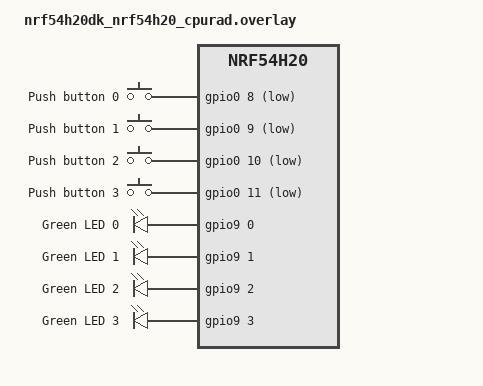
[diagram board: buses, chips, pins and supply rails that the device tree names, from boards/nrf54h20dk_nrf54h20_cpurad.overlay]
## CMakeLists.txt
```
#
# Copyright (c) 2018 Nordic Semiconductor
#
# SPDX-License-Identifier: LicenseRef-Nordic-5-Clause
#
cmake_minimum_required(VERSION 3.20.0)

find_package(Zephyr REQUIRED HINTS $ENV{ZEPHYR_BASE})
project(peripheral_uart_1)

# set(BOARD_FLASH_RUNNER jlink)

#set_property(GLOBAL PROPERTY BOARD_RUNNER_ARGS nrfjprog "--softreset")
# NORDIC SDK APP START
target_sources(app PRIVATE
  src/main.c
)

# NORDIC SDK APP END
```

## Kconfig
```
#
# Copyright (c) 2018 Nordic Semiconductor
#
# SPDX-License-Identifier: LicenseRef-Nordic-5-Clause
#

source "Kconfig.zephyr"

menu "Nordic UART BLE GATT service sample"

config BT_NUS_THREAD_STACK_SIZE
	int "Thread stack size"
	default 1024
	help
	  Stack size used in each of the two threads

config BT_NUS_UART_BUFFER_SIZE
	int "UART payload buffer element size"
	default 40
	help
	  Size of the payload buffer in each RX and TX FIFO element

config BT_NUS_SECURITY_ENABLED
	bool "Enable security"
	default y
	select BT_SMP
	help
	  "Enable BLE security for the UART service"

config BT_NUS_UART_RX_WAIT_TIME
	int "Timeout for UART RX complete event"
	default 50000
	help
	  Wait for RX complete event time in microseconds

config SETTINGS
	default y

config ZMS
	default y if !(SOC_FLASH_NRF_RRAM || SOC_FLASH_NRF_MRAM)

config NVS
	default y if !(SOC_FLASH_NRF_RRAM || SOC_FLASH_NRF_MRAM)

endmenu
```

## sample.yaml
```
sample:
  description: Bluetooth Low Energy UART service sample
  name: Bluetooth LE UART service
tests:
  sample.bluetooth.peripheral_uart:
    sysbuild: true
    build_only: true
    platform_allow: nrf52dk/nrf52832 nrf52833dk/nrf52833 nrf52840dk/nrf52840
      nrf5340dk/nrf5340/cpuapp nrf5340dk/nrf5340/cpuapp/ns thingy53/nrf5340/cpuapp
      thingy53/nrf5340/cpuapp/ns nrf21540dk/nrf52840 nrf54l15dk/nrf54l05/cpuapp
      nrf54l15dk/nrf54l10/cpuapp nrf54l15dk/nrf54l15/cpuapp
      nrf54h20dk/nrf54h20/cpuapp nrf54h20dk/nrf54h20/cpurad
    integration_platforms:
      - nrf52dk/nrf52832
      - nrf52833dk/nrf52833
      - nrf52840dk/nrf52840
      - nrf5340dk/nrf5340/cpuapp
      - nrf5340dk/nrf5340/cpuapp/ns
      - thingy53/nrf5340/cpuapp
      - thingy53/nrf5340/cpuapp/ns
      - nrf21540dk/nrf52840
      - nrf54l15dk/nrf54l05/cpuapp
      - nrf54l15dk/nrf54l10/cpuapp
      - nrf54l15dk/nrf54l15/cpuapp
      - nrf54h20dk/nrf54h20/cpuapp
      - nrf54h20dk/nrf54h20/cpurad
    tags: bluetooth ci_build sysbuild
  sample.bluetooth.peripheral_uart_cdc:
    sysbuild: true
    build_only: true
    extra_args: OVERLAY_CONFIG=prj_cdc.conf DTC_OVERLAY_FILE="usb.overlay"
    integration_platforms:
      - nrf52840dk/nrf52840
      - nrf52833dk/nrf52833
    platform_allow: nrf52840dk/nrf52840 nrf52833dk/nrf52833
    tags: bluetooth ci_build sysbuild
  sample.bluetooth.peripheral_uart_minimal:
    sysbuild: true
    build_only: true
    extra_args: FILE_SUFFIX=minimal
    integration_platforms:
      - nrf52dk/nrf52805
      - nrf52dk/nrf52810
      - nrf52840dk/nrf52811
      - nrf52833dk/nrf52820
    platform_allow: nrf52dk/nrf52805 nrf52dk/nrf52810 nrf52840dk/nrf52811 nrf52833dk/nrf52820
    tags: bluetooth ci_build sysbuild
  sample.bluetooth.peripheral_uart_ble_rpc:
    sysbuild: true
    build_only: true
    extra_args:
      - SNIPPET=nordic-bt-rpc
      - FILE_SUFFIX=bt_rpc
    integration_platforms:
      - nrf5340dk/nrf5340/cpuapp
      - nrf54h20dk/nrf54h20/cpuapp
    platform_allow: nrf5340dk/nrf5340/cpuapp nrf54h20dk/nrf54h20/cpuapp
    tags: bluetooth ci_build sysbuild
  sample.bluetooth.peripheral_uart.security_disabled:
    sysbuild: true
    build_only: true
    platform_allow: nrf52dk/nrf52832 nrf52833dk/nrf52833 nrf52840dk/nrf52840
      nrf5340dk/nrf5340/cpuapp nrf5340dk/nrf5340/cpuapp/ns thingy53/nrf5340/cpuapp
      thingy53/nrf5340/cpuapp/ns nrf21540dk/nrf52840
    integration_platforms:
      - nrf52840dk/nrf52840
    tags: bluetooth ci_build sysbuild
    extra_configs:
      - CONFIG_BT_NUS_SECURITY_ENABLED=n
```

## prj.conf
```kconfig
#
# Copyright (c) 2018 Nordic Semiconductor
#
# SPDX-License-Identifier: LicenseRef-Nordic-5-Clause
#

# Enable the UART driver
CONFIG_UART_ASYNC_API=y
CONFIG_NRFX_UARTE0=y
CONFIG_SERIAL=y

CONFIG_GPIO=y

# Make sure printk is printing to the UART console
CONFIG_CONSOLE=y
CONFIG_UART_CONSOLE=y

CONFIG_HEAP_MEM_POOL_SIZE=2048

CONFIG_BT=y
CONFIG_BT_PERIPHERAL=y
CONFIG_BT_DEVICE_NAME="EngineerRing BLE"
CONFIG_BT_MAX_CONN=1
CONFIG_BT_MAX_PAIRED=1

# Enable the NUS service
CONFIG_BT_NUS=y

# Enable bonding
CONFIG_BT_SETTINGS=y
CONFIG_FLASH=y
CONFIG_FLASH_PAGE_LAYOUT=y
CONFIG_FLASH_MAP=y

# Enable DK LED and Buttons library
CONFIG_DK_LIBRARY=y

# This example requires more stack
CONFIG_MAIN_STACK_SIZE=1152
CONFIG_SYSTEM_WORKQUEUE_STACK_SIZE=2048

# Config logger
CONFIG_LOG=y
CONFIG_USE_SEGGER_RTT=y
CONFIG_LOG_BACKEND_RTT=y
CONFIG_LOG_BACKEND_UART=n
CONFIG_LOG_PRINTK=n

CONFIG_ASSERT=y

CONFIG_SPI=y
   
# Use internal RC oscillator for LFCLK (if no 32.768 kHz crystal present)
CONFIG_CLOCK_CONTROL_NRF_K32SRC_RC=y
CONFIG_CLOCK_CONTROL_NRF_K32SRC_XTAL=n
CONFIG_CLOCK_CONTROL_NRF_K32SRC_SYNTH=n

CONFIG_CLOCK_CONTROL_NRF_K32SRC_500PPM=y
CONFIG_CLOCK_CONTROL_NRF_K32SRC_RC_CALIBRATION=y
```

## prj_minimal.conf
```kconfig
#
# Copyright (c) 2021 Nordic Semiconductor
#
# SPDX-License-Identifier: LicenseRef-Nordic-5-Clause
#

# Enable the UART driver
CONFIG_UART_ASYNC_API=y
CONFIG_NRFX_UARTE0=y
CONFIG_SERIAL=y

CONFIG_HEAP_MEM_POOL_SIZE=2048

CONFIG_BT=y
CONFIG_BT_PERIPHERAL=y
CONFIG_BT_DEVICE_NAME="Nordic_UART_Service"
CONFIG_BT_DEVICE_APPEARANCE=833
CONFIG_BT_MAX_CONN=1
CONFIG_BT_MAX_PAIRED=1

# Enable the NUS service
CONFIG_BT_NUS=y

# Enable bonding
CONFIG_BT_SETTINGS=y
CONFIG_FLASH=y
CONFIG_FLASH_PAGE_LAYOUT=y
CONFIG_FLASH_MAP=y

# Enable DK LED and Buttons library
CONFIG_DK_LIBRARY=y

# Drivers and peripherals
CONFIG_I2C=n
CONFIG_WATCHDOG=n
CONFIG_SPI=n
CONFIG_GPIO=n

# Power management

# Interrupts
CONFIG_DYNAMIC_INTERRUPTS=n
CONFIG_IRQ_OFFLOAD=n

# Memory protection
CONFIG_THREAD_STACK_INFO=n
CONFIG_THREAD_CUSTOM_DATA=n
CONFIG_FPU=n

# Boot
CONFIG_NCS_BOOT_BANNER=n
CONFIG_BOOT_BANNER=n
CONFIG_BOOT_DELAY=0

# Console
CONFIG_CONSOLE=n
CONFIG_UART_CONSOLE=n
CONFIG_STDOUT_CONSOLE=n
CONFIG_PRINTK=n
CONFIG_EARLY_CONSOLE=n

# Build
CONFIG_SIZE_OPTIMIZATIONS=y

# ARM
CONFIG_ARM_MPU=n

# In order to correctly tune the stack sizes for the threads the following
# Configurations can enabled to print the current use:
#CONFIG_THREAD_NAME=y
#CONFIG_THREAD_ANALYZER=y
#CONFIG_THREAD_ANALYZER_AUTO=y
#CONFIG_THREAD_ANALYZER_RUN_UNLOCKED=y
#CONFIG_THREAD_ANALYZER_USE_PRINTK=y
#CONFIG_CONSOLE=y
#CONFIG_UART_CONSOLE=y
#CONFIG_SERIAL=y
#CONFIG_PRINTK=y

# Example output of thread analyzer
#SDC RX              : unused 800 usage 224 / 1024 (21 %)
#BT ECC              : unused 216 usage 888 / 1104 (80 %)
#BT RX               : unused 1736 usage 464 / 2200 (21 %)
#BT TX               : unused 1008 usage 528 / 1536 (34 %)
#ble_write_thread_id : unused 688 usage 336 / 1024 (32 %)
#sysworkq            : unused 1912 usage 136 / 2048 (6 %)
#MPSL signal         : unused 928 usage 96 / 1024 (9 %)
#idle 00             : unused 224 usage 96 / 320 (30 %)
#main                : unused 568 usage 456 / 1024 (44 %)
CONFIG_BT_RX_STACK_SIZE=1024
CONFIG_BT_HCI_TX_STACK_SIZE_WITH_PROMPT=y
CONFIG_BT_HCI_TX_STACK_SIZE=640
CONFIG_SYSTEM_WORKQUEUE_STACK_SIZE=1536
CONFIG_MPSL_WORK_STACK_SIZE=256
CONFIG_MAIN_STACK_SIZE=864
CONFIG_IDLE_STACK_SIZE=128
CONFIG_ISR_STACK_SIZE=1024
CONFIG_BT_NUS_THREAD_STACK_SIZE=512

# Disable features not needed
CONFIG_TIMESLICING=n
CONFIG_COMMON_LIBC_MALLOC=n
CONFIG_LOG=n
CONFIG_LOG_BACKEND_RTT=n
CONFIG_ASSERT=n

# Disable Bluetooth features not needed
CONFIG_BT_DEBUG_NONE=y
CONFIG_BT_ASSERT=n
CONFIG_BT_DATA_LEN_UPDATE=n
CONFIG_BT_PHY_UPDATE=n
CONFIG_BT_GATT_CACHING=n
CONFIG_BT_GATT_SERVICE_CHANGED=n
CONFIG_BT_GAP_PERIPHERAL_PREF_PARAMS=n
CONFIG_BT_SETTINGS_CCC_LAZY_LOADING=y
CONFIG_BT_HCI_VS=n

# Disable Bluetooth controller features not needed
CONFIG_BT_CTLR_PRIVACY=n
CONFIG_BT_CTLR_PHY_2M=n

# Reduce Bluetooth buffers
CONFIG_BT_BUF_EVT_DISCARDABLE_COUNT=1
CONFIG_BT_BUF_EVT_DISCARDABLE_SIZE=43
CONFIG_BT_BUF_EVT_RX_COUNT=2

CONFIG_BT_CONN_TX_MAX=3
CONFIG_BT_L2CAP_TX_BUF_COUNT=2
CONFIG_BT_ATT_TX_COUNT=2
CONFIG_BT_BUF_ACL_TX_COUNT=3
CONFIG_BT_BUF_ACL_TX_SIZE=27
```

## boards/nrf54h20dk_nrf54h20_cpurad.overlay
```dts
/*
 * Copyright (c) 2024 Nordic Semiconductor ASA
 *
 * SPDX-License-Identifier: LicenseRef-Nordic-5-Clause
 */

/ {
	chosen {
		nordic,nus-uart = &uart135;
		zephyr,settings_partition = &cpurad_storage_partition;
	};

	/* LEDs and buttons definitions are required for the DK Buttons and
	 * LEDs module.
	 */

	aliases {
		led0 = &led0;
		led1 = &led1;
		led2 = &led2;
		led3 = &led3;

		sw0 = &button0;
		sw1 = &button1;
		sw2 = &button2;
		sw3 = &button3;
	};

	buttons {
		compatible = "gpio-keys";

		button0: button_0 {
			gpios = <&gpio0 8 (GPIO_PULL_UP | GPIO_ACTIVE_LOW)>;
			label = "Push button 0";
			zephyr,code = <INPUT_KEY_0>;
		};

		button1: button_1 {
			gpios = <&gpio0 9 (GPIO_PULL_UP | GPIO_ACTIVE_LOW)>;
			label = "Push button 1";
			zephyr,code = <INPUT_KEY_1>;
		};

		button2: button_2 {
			gpios = <&gpio0 10 (GPIO_PULL_UP | GPIO_ACTIVE_LOW)>;
			label = "Push button 2";
			zephyr,code = <INPUT_KEY_2>;
		};

		button3: button_3 {
			gpios = <&gpio0 11 (GPIO_PULL_UP | GPIO_ACTIVE_LOW)>;
			label = "Push button 3";
			zephyr,code = <INPUT_KEY_3>;
		};
	};

	leds {
		compatible = "gpio-leds";

		led0: led_0 {
			gpios = <&gpio9 0 GPIO_ACTIVE_HIGH>;
			label = "Green LED 0";
		};

		led1: led_1 {
			gpios = <&gpio9 1 GPIO_ACTIVE_HIGH>;
			label = "Green LED 1";
		};

		led2: led_2 {
			gpios = <&gpio9 2 GPIO_ACTIVE_HIGH>;
			label = "Green LED 2";
		};

		led3: led_3 {
			gpios = <&gpio9 3 GPIO_ACTIVE_HIGH>;
			label = "Green LED 3";
		};
	};
};

&gpio0 {
	status = "okay";
};

&gpio9 {
	status = "okay";
};

&gpiote130 {
	status = "okay";
	owned-channels = <4 5 6 7>;
};

/* Change to memory map to make room for read write partition for settings
 * module.
 *
 * @note In case of use of the settings sotrage when running firmware on the
 *       application core, the same memory map change must be applied to the
*        application core DTS.
 */
/delete-node/ &dfu_partition;
/delete-node/ &storage_partition;

&cpuapp_rw_partitions {
	dfu_partition: partition@100000 {
		reg = < 0x100000 DT_SIZE_K(884) >;
	};

	storage_partition: partition@1dd000 {
		reg = < 0x1dd000 DT_SIZE_K(24) >;
	};
};

&mram1x {
	cpurad_rw_partitions: cpurad-rw-partitions {
		compatible = "nordic,owned-partitions", "fixed-partitions";
		nordic,access = <NRF_OWNER_ID_RADIOCORE NRF_PERM_RWS>;
		#address-cells = <1>;
		#size-cells = <1>;

		cpurad_storage_partition: partition@1e3000 {
			reg = <0x1e3000 DT_SIZE_K(24)>;
		};
	};
};

&cpurad_rw_partitions {
	status = "okay";
};
```

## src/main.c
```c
/*
 * Copyright (c) 2018 Nordic Semiconductor ASA
 *
 * SPDX-License-Identifier: LicenseRef-Nordic-5-Clause
 */

/** @file
 *  @brief Nordic UART Bridge Service (NUS) sample
 */

#include <zephyr/drivers/gpio.h>
#include <zephyr/logging/log.h>
LOG_MODULE_REGISTER(main);

#include <zephyr/types.h>

#include <zephyr/device.h>
#include <zephyr/devicetree.h>
#include <soc.h>

#include <zephyr/bluetooth/bluetooth.h>
#include <zephyr/bluetooth/uuid.h>
#include <zephyr/bluetooth/gatt.h>
#include <zephyr/bluetooth/hci.h>

#include <bluetooth/services/nus.h>

#include <dk_buttons_and_leds.h>

#include <zephyr/settings/settings.h>

#include <stdio.h>
#include <string.h>

#include <zephyr/logging/log.h>

#include <zephyr/kernel.h>
#include <zephyr/drivers/spi.h>


#define WHO_AM_I       0x00 // Expecting 0XEA for reset value
#define USER_CTRL             0x03
#define LP_CONFIG             0x05
#define PWR_MGMT_1            0x06
#define PWR_MGMT_2            0x07
#define INT_PIN_CFG           0x0F
#define INT_ENABLE            0x10
#define INT_ENABLE_1          0x11
#define INT_ENABLE_2          0x12
#define INT_ENABLE_3          0x13
#define I2C_MST_STATUS        0x17
#define INT_STATUS            0x19
#define INT_STATUS_1          0x1A
#define INT_STATUS_2          0x1B
#define INT_STATUS_3          0x1C
#define DELAY_TIMEH           0x28
#define DELAY_TIMEL           0x29
#define ACCEL_XOUT_H          0x2D
#define ACCEL_XOUT_L          0x2E
#define ACCEL_YOUT_H          0x2F
#define ACCEL_YOUT_L          0x30
#define ACCEL_ZOUT_H          0x31
#define ACCEL_ZOUT_L          0x32
#define GYRO_XOUT_H           0x33
#define GYRO_XOUT_L           0x34
#define GYRO_YOUT_H           0x35
#define GYRO_YOUT_L           0x36
#define GYRO_ZOUT_H           0x37
#define GYRO_ZOUT_L           0x38
#define TEMP_OUT_H            0x39
#define TEMP_OUT_L            0x3A
#define EXT_SLV_SENS_DATA_00  0x3B
#define EXT_SLV_SENS_DATA_01  0x3C
#define EXT_SLV_SENS_DATA_02  0x3D
#define EXT_SLV_SENS_DATA_03  0x3E
#define EXT_SLV_SENS_DATA_04  0x3F
#define EXT_SLV_SENS_DATA_05  0x40
#define EXT_SLV_SENS_DATA_06  0x41
#define EXT_SLV_SENS_DATA_07  0x42
#define EXT_SLV_SENS_DATA_08  0x43
#define EXT_SLV_SENS_DATA_09  0x44
#define EXT_SLV_SENS_DATA_10  0x45
#define EXT_SLV_SENS_DATA_11  0x46
#define EXT_SLV_SENS_DATA_12  0x47
#define EXT_SLV_SENS_DATA_13  0x48
#define EXT_SLV_SENS_DATA_14  0x49
#define EXT_SLV_SENS_DATA_15  0x4A
#define EXT_SLV_SENS_DATA_16  0x4B
#define EXT_SLV_SENS_DATA_17  0x4C
#define EXT_SLV_SENS_DATA_18  0x4D
#define EXT_SLV_SENS_DATA_19  0x4E
#define EXT_SLV_SENS_DATA_20  0x4F
#define EXT_SLV_SENS_DATA_21  0x50
#define EXT_SLV_SENS_DATA_22  0x51
#define EXT_SLV_SENS_DATA_23  0x52
#define FIFO_EN_1             0x66
#define FIFO_EN_2             0x67
#define FIFO_RST              0x68
#define FIFO_MODE             0x69
#define FIFO_COUNTH           0x70
#define FIFO_COUNTL           0x71
#define FIFO_R_W              0x72
#define DATA_RDY_STATUS       0x74
#define FIFO_CFG              0x76
#define REG_BANK_SEL          0x7F

#define SELF_TEST_X_GYRO   0x02
#define SELF_TEST_Y_GYRO   0x03
#define SELF_TEST_Z_GYRO   0x04
#define SELF_TEST_X_ACCEL  0x0E
#define SELF_TEST_Y_ACCEL  0x0F
#define SELF_TEST_Z_ACCEL  0x10
#define XA_OFFSET_H     0x14
#define XA_OFFSET_L     0x15
#define YA_OFFSET_H     0x17
#define YA_OFFSET_L     0x18
#define ZA_OFFSET_H     0x1A
#define ZA_OFFSET_L     0x1B
#define TIMEBASE_CORRECTION_PLL 0x28

#define GYRO_SMPLRT_DIV 0x00
#define GYRO_CONFIG_1   0x01
#define GYRO_CONFIG_2   0x02
#define XG_OFFS_USRH   0x03
#define XG_OFFS_USRL   0x04
#define YG_OFFS_USRH   0x05
#define YG_OFFS_USRL   0x06
#define ZG_OFFS_USRH   0x07
#define ZG_OFFS_USRL   0x08
#define ODR_ALIGN_EN   0x09
#define ACCEL_SMPLRT_DIV_1 0x10
#define ACCEL_SMPLRT_DIV_2 0x11
#define ACCEL_INTEL_CTRL   0x12
#define ACCEL_WOM_THR     0x13
#define ACCEL_CONFIG     0x14
#define ACCEL_CONFIG_2   0x15
#define FSYNC_CONFIG    0x52
#define TEMP_CONFIG     0x53
#define MOD_CTRL_USR    0x54


#define SPI1_NODE DT_NODELABEL(spi1)
static const struct device *spi1_dev = DEVICE_DT_GET(SPI1_NODE);


#define STACKSIZE CONFIG_BT_NUS_THREAD_STACK_SIZE
#define PRIORITY 7

#define DEVICE_NAME CONFIG_BT_DEVICE_NAME
#define DEVICE_NAME_LEN	(sizeof(DEVICE_NAME) - 1)

#define RUN_STATUS_LED DK_LED1
#define RUN_LED_BLINK_INTERVAL 100



#define MY_GPIO0 DT_NODELABEL(gpio0)
#define GPIO_0_CS 27//28
const struct device *gpio0_dev = DEVICE_DT_GET(MY_GPIO0);

#define GPIO_0_BUTTON_1 23//13
#define GPIO_0_BUTTON_2 26//14
#define IMU_INT_PIN 25//4

#define LED_0 8   

static struct gpio_callback interrupt_cb;

#define SLEEP_TIME_MS   100


static struct spi_config spi_cfg ={
	.frequency = 2000000U, // 2 MHz is the fastest that works with eval board wiring.
	.operation = SPI_WORD_SET(8),
	.slave = 0,
//	.cs = &spi_cs,
};

static volatile bool imu_data_ready = false;

static void imu_int_handler(const struct device *port, struct gpio_callback *cb, uint32_t pins)
{
    imu_data_ready = true;
}

static void readRegister(uint8_t reg, uint8_t values[], uint8_t size) {
    int err;

    uint8_t tx_buffer[1];
    tx_buffer[0] = reg | 0x80; // Set MSB for read operation

    struct spi_buf tx_spi_bufs[] = {
        {
            .buf = tx_buffer,
            .len = sizeof(tx_buffer)
        }
    };

    struct spi_buf_set spi_tx_buffer_set = {
        .buffers = tx_spi_bufs,
        .count = 1
    };

    struct spi_buf rx_spi_bufs[] = {
        {
            .buf = values,
            .len = size
        }
    };

    struct spi_buf_set spi_rx_buffer_set = {
        .buffers = rx_spi_bufs,
        .count = 1
    };

    gpio_pin_set(gpio0_dev, GPIO_0_CS, 0); // Set CS low

    err = spi_write(spi1_dev, &spi_cfg, &spi_tx_buffer_set);
    if (err >= 0) {
        // SPI read
        err = spi_read(spi1_dev, &spi_cfg, &spi_rx_buffer_set);
    }

    gpio_pin_set(gpio0_dev, GPIO_0_CS, 1); // Set CS high    

    if (err < 0) {
        printk("SPI read failed %d\n", err);
    }
}

static void writeRegister(uint8_t reg, uint8_t values[], uint8_t size) {
    int err;

    // Create SPI buffer with register address
    uint8_t tx_reg[1] = { reg & 0x7F }; // Clear MSB for write

    struct spi_buf tx_spi_bufs[] = {
        { .buf = tx_reg, .len = sizeof(tx_reg) },
        { .buf = values, .len = size } // Data to write
    };

    struct spi_buf_set spi_tx_buffer_set = {
        .buffers = tx_spi_bufs,
        .count = 2
    };

    gpio_pin_set(gpio0_dev, GPIO_0_CS, 0); // CS low

    err = spi_write(spi1_dev, &spi_cfg, &spi_tx_buffer_set);

    gpio_pin_set(gpio0_dev, GPIO_0_CS, 1); // CS high

    if (err < 0) {
        printk("SPI write failed %d\n", err);
    }
}

static void calibrateGyro(void) {

    writeRegister(REG_BANK_SEL, (uint8_t[]){0x02 << 4}, 1); // Select bank 2 by putting 2 in bits [5:4]
    // Set gyro offsets
    int16_t x_gyro_offset = -288; // Offset the gyro x readings by this value as a calibration
    int16_t y_gyro_offset = -36;
    int16_t z_gyro_offset = -70;
    writeRegister(XG_OFFS_USRH, (uint8_t[]){(x_gyro_offset >> 8) & 0xFF}, 1);
    writeRegister(XG_OFFS_USRL, (uint8_t[]){x_gyro_offset & 0xFF}, 1);
    writeRegister(YG_OFFS_USRH, (uint8_t[]){(y_gyro_offset >> 8) & 0xFF}, 1);
    writeRegister(YG_OFFS_USRL, (uint8_t[]){y_gyro_offset & 0xFF}, 1);
    writeRegister(ZG_OFFS_USRH, (uint8_t[]){(z_gyro_offset >> 8) & 0xFF}, 1);
    writeRegister(ZG_OFFS_USRL, (uint8_t[]){z_gyro_offset & 0xFF}, 1);
    k_msleep(10);
}

static void imuInterruptConfig(void) {
    writeRegister(REG_BANK_SEL, (uint8_t[]){0x00 << 4}, 1); // put 0 in bits [5:4]
    k_msleep(10);
    writeRegister(INT_PIN_CFG, (uint8_t[]){0b10000000}, 1); // INT pin is active low, push-pull
    k_msleep(10);
    writeRegister(INT_ENABLE_1, (uint8_t[]){0b00000001}, 1); // Data ready interrupt enabled
	k_msleep(10);

}

static void initialCongig(void) {

    writeRegister(REG_BANK_SEL, (uint8_t[]){0x00 << 4}, 1); // put 0 in bits [5:4]
	k_msleep(10);

    writeRegister(PWR_MGMT_1, (uint8_t[]){0b00001001}, 1); // Wake up device, temp sensor off
    uint8_t rx_data[1];
    k_msleep(1000);
    writeRegister(REG_BANK_SEL, (uint8_t[]){0x02 << 4}, 1); // Select bank 2 by putting 2 in bits [5:4]
    k_msleep(10);
    readRegister(REG_BANK_SEL, rx_data, 1);
    printf("REG_BANK_SEL: 0x%02X\n", rx_data[0]);
    k_msleep(10);
    writeRegister(GYRO_CONFIG_1, (uint8_t[]){0b00111101}, 1); // 1000dps DLPF 361.4Hz cutoff
    k_msleep(10);
    readRegister(GYRO_CONFIG_1, rx_data, 1);
    printf("GYRO_CONFIG_1: 0x%02X\n", rx_data[0]);
    k_msleep(10);

    calibrateGyro();
	imuInterruptConfig();

    writeRegister(REG_BANK_SEL, (uint8_t[]){0x00 << 4}, 1); // put 0 in bits [5:4]
    k_msleep(10);

}


#define CON_STATUS_LED DK_LED2

#define KEY_PASSKEY_ACCEPT DK_BTN1_MSK
#define KEY_PASSKEY_REJECT DK_BTN2_MSK

static K_SEM_DEFINE(ble_init_ok, 0, 1);

static struct bt_conn *current_conn;
static struct bt_conn *auth_conn;

static const struct bt_data ad[] = {
	BT_DATA_BYTES(BT_DATA_FLAGS, (BT_LE_AD_GENERAL | BT_LE_AD_NO_BREDR)),
	BT_DATA(BT_DATA_NAME_COMPLETE, DEVICE_NAME, DEVICE_NAME_LEN),
};

static const struct bt_data sd[] = {
	BT_DATA_BYTES(BT_DATA_UUID128_ALL, BT_UUID_NUS_VAL),
};

#ifdef CONFIG_UART_ASYNC_ADAPTER
UART_ASYNC_ADAPTER_INST_DEFINE(async_adapter);
#else
#define async_adapter NULL
#endif

static void connected(struct bt_conn *conn, uint8_t err)
{
	char addr[BT_ADDR_LE_STR_LEN];

	if (err) {
		LOG_ERR("Connection failed, err 0x%02x %s", err, bt_hci_err_to_str(err));
		return;
	}

	bt_addr_le_to_str(bt_conn_get_dst(conn), addr, sizeof(addr));
	LOG_INF("Connected %s", addr);

	current_conn = bt_conn_ref(conn);

	dk_set_led_on(CON_STATUS_LED);
}

static void disconnected(struct bt_conn *conn, uint8_t reason)
{
	char addr[BT_ADDR_LE_STR_LEN];

	bt_addr_le_to_str(bt_conn_get_dst(conn), addr, sizeof(addr));

	LOG_INF("Disconnected: %s, reason 0x%02x %s", addr, reason, bt_hci_err_to_str(reason));

	if (auth_conn) {
		bt_conn_unref(auth_conn);
		auth_conn = NULL;
	}

	if (current_conn) {
		bt_conn_unref(current_conn);
		current_conn = NULL;
		dk_set_led_off(CON_STATUS_LED);
	}
}

#ifdef CONFIG_BT_NUS_SECURITY_ENABLED
static void security_changed(struct bt_conn *conn, bt_security_t level,
			     enum bt_security_err err)
{
	char addr[BT_ADDR_LE_STR_LEN];

	bt_addr_le_to_str(bt_conn_get_dst(conn), addr, sizeof(addr));

	if (!err) {
		LOG_INF("Security changed: %s level %u", addr, level);
	} else {
		LOG_WRN("Security failed: %s level %u err %d %s", addr, level, err,
			bt_security_err_to_str(err));
	}
}
#endif

BT_CONN_CB_DEFINE(conn_callbacks) = {
	.connected    = connected,
	.disconnected = disconnected,
#ifdef CONFIG_BT_NUS_SECURITY_ENABLED
	.security_changed = security_changed,
#endif
};

#if defined(CONFIG_BT_NUS_SECURITY_ENABLED)
static void auth_passkey_display(struct bt_conn *conn, unsigned int passkey)
{
	char addr[BT_ADDR_LE_STR_LEN];

	bt_addr_le_to_str(bt_conn_get_dst(conn), addr, sizeof(addr));

	LOG_INF("Passkey for %s: %06u", addr, passkey);
}

static void auth_passkey_confirm(struct bt_conn *conn, unsigned int passkey)
{
	char addr[BT_ADDR_LE_STR_LEN];

	auth_conn = bt_conn_ref(conn);

	bt_addr_le_to_str(bt_conn_get_dst(conn), addr, sizeof(addr));

	LOG_INF("Passkey for %s: %06u", addr, passkey);

	if (IS_ENABLED(CONFIG_SOC_SERIES_NRF54HX) || IS_ENABLED(CONFIG_SOC_SERIES_NRF54LX)) {
		LOG_INF("Press Button 0 to confirm, Button 1 to reject.");
	} else {
		LOG_INF("Press Button 1 to confirm, Button 2 to reject.");
	}
}


static void auth_cancel(struct bt_conn *conn)
{
	char addr[BT_ADDR_LE_STR_LEN];

	bt_addr_le_to_str(bt_conn_get_dst(conn), addr, sizeof(addr));

	LOG_INF("Pairing cancelled: %s", addr);
}


static void pairing_complete(struct bt_conn *conn, bool bonded)
{
	char addr[BT_ADDR_LE_STR_LEN];

	bt_addr_le_to_str(bt_conn_get_dst(conn), addr, sizeof(addr));

	LOG_INF("Pairing completed: %s, bonded: %d", addr, bonded);
}


static void pairing_failed(struct bt_conn *conn, enum bt_security_err reason)
{
	char addr[BT_ADDR_LE_STR_LEN];

	bt_addr_le_to_str(bt_conn_get_dst(conn), addr, sizeof(addr));

	LOG_INF("Pairing failed conn: %s, reason %d %s", addr, reason,
		bt_security_err_to_str(reason));
}

static struct bt_conn_auth_cb conn_auth_callbacks = {
	.passkey_display = auth_passkey_display,
	.passkey_confirm = auth_passkey_confirm,
	.cancel = auth_cancel,
};

static struct bt_conn_auth_info_cb conn_auth_info_callbacks = {
	.pairing_complete = pairing_complete,
	.pairing_failed = pairing_failed
};
#else
static struct bt_conn_auth_cb conn_auth_callbacks;
static struct bt_conn_auth_info_cb conn_auth_info_callbacks;
#endif

static void bt_receive_cb(struct bt_conn *conn, const uint8_t *const data,
                          uint16_t len)
{
    char addr[BT_ADDR_LE_STR_LEN];
    bt_addr_le_to_str(bt_conn_get_dst(conn), addr, sizeof(addr));
    LOG_INF("Received data from %s: %.*s", addr, len, data);
}

static struct bt_nus_cb nus_cb = {
	.received = bt_receive_cb,
};

void error(void)
{
	dk_set_leds_state(DK_ALL_LEDS_MSK, DK_NO_LEDS_MSK);

	while (true) {
		/* Spin for ever */
		k_sleep(K_MSEC(1000));
	}
}

#ifdef CONFIG_BT_NUS_SECURITY_ENABLED
static void num_comp_reply(bool accept)
{
	if (accept) {
		bt_conn_auth_passkey_confirm(auth_conn);
		LOG_INF("Numeric Match, conn %p", (void *)auth_conn);
	} else {
		bt_conn_auth_cancel(auth_conn);
		LOG_INF("Numeric Reject, conn %p", (void *)auth_conn);
	}

	bt_conn_unref(auth_conn);
	auth_conn = NULL;
}

void button_changed(uint32_t button_state, uint32_t has_changed)
{
	uint32_t buttons = button_state & has_changed;

	if (auth_conn) {
		if (buttons & KEY_PASSKEY_ACCEPT) {
			num_comp_reply(true);
		}

		if (buttons & KEY_PASSKEY_REJECT) {
			num_comp_reply(false);
		}
	}
}
#endif /* CONFIG_BT_NUS_SECURITY_ENABLED */

int main(void)
{

	k_msleep(1000);

	int button_val_1, button_val_2;
	int16_t accel_x, accel_y, accel_z;
	int16_t gyro_x, gyro_y, gyro_z;


	int err = 0;

	gpio_pin_configure(gpio0_dev, GPIO_0_CS, GPIO_OUTPUT);
	gpio_pin_set(gpio0_dev, GPIO_0_CS, 1); // Set CS high

	if (!device_is_ready(spi1_dev)) {
		printk("SPI device not found\n");
		return 0;
	}


	int ret;


	ret = gpio_pin_configure(gpio0_dev, LED_0, GPIO_OUTPUT_ACTIVE);
	if (ret < 0) {
    printk("Failed to configure led\n");
    return 0;
	}


    ret = gpio_pin_configure(gpio0_dev, GPIO_0_BUTTON_1, GPIO_INPUT | GPIO_PULL_UP);
    if (ret < 0) {
    printk("Failed to configure button 1 pin\n");
        return 0;
    }

    ret = gpio_pin_configure(gpio0_dev, GPIO_0_BUTTON_2, GPIO_INPUT | GPIO_PULL_UP);
    if (ret < 0) {
    printk("Failed to configure button 2 pin\n");
        return 0;
    }

    ret = gpio_pin_configure(gpio0_dev, IMU_INT_PIN, GPIO_INPUT | GPIO_PULL_UP);
    if (ret < 0) {
    printk("Failed to configure IMU INT pin\n");
        return 0;
    }



    ret = gpio_pin_interrupt_configure(gpio0_dev, IMU_INT_PIN, GPIO_INT_EDGE_FALLING); 
    if (ret < 0) {
    printk("Failed to configure IMU INT interrupt\n");
    return 0;
    }

    gpio_init_callback(&interrupt_cb, imu_int_handler, BIT(IMU_INT_PIN));
    gpio_add_callback(gpio0_dev, &interrupt_cb);

	k_msleep(100); 
    initialCongig();




	if (IS_ENABLED(CONFIG_BT_NUS_SECURITY_ENABLED)) {
		err = bt_conn_auth_cb_register(&conn_auth_callbacks);
		if (err) {
			printk("Failed to register authorization callbacks.\n");
			return 0;
		}

		err = bt_conn_auth_info_cb_register(&conn_auth_info_callbacks);
		if (err) {
			printk("Failed to register authorization info callbacks.\n");
			return 0;
		}
	}

	err = bt_enable(NULL);
	if (err) {
		error();
	}

	LOG_INF("Bluetooth initialized");

	k_sem_give(&ble_init_ok);

	if (IS_ENABLED(CONFIG_SETTINGS)) {
		settings_load();
	}

	err = bt_nus_init(&nus_cb);
	if (err) {
		LOG_ERR("Failed to initialize NUS service (err: %d)", err);
		return 0;
	}

	err = bt_le_adv_start(BT_LE_ADV_CONN, ad, ARRAY_SIZE(ad), sd,
			      ARRAY_SIZE(sd));
	if (err) {
		LOG_ERR("Advertising failed to start (err %d)", err);
		return 0;
	}


	while (1) {
	
		gpio_pin_set(gpio0_dev, LED_0, 1);  
		k_msleep(3000);
		gpio_pin_set(gpio0_dev, LED_0, 0);    
		k_msleep(25);
		//printf("Toggling LED\n");
	

}
// 	while (1) {

// 		ret = gpio_pin_toggle_dt(&led);
// 		if (ret < 0) {
// 			return 0;
// 		}


//         int button_val_1 = gpio_pin_get(gpio0_dev, GPIO_0_BUTTON_1);
//         int button_val_2 = gpio_pin_get(gpio0_dev, GPIO_0_BUTTON_2);

//         if (imu_data_ready) {
            
//             imu_data_ready = false;
//             uint8_t rx_data[12];
//             readRegister(ACCEL_XOUT_H, rx_data, 12);
//             int16_t accel_x = (rx_data[0] << 8) | rx_data[1];
//             int16_t accel_y = (rx_data[2] << 8) | rx_data[3];
//             int16_t accel_z = (rx_data[4] << 8) | rx_data[5];
//             int16_t gyro_x = (rx_data[6] << 8) | rx_data[7];
//             int16_t gyro_y = (rx_data[8] << 8) | rx_data[9];
//             int16_t gyro_z = (rx_data[10] << 8) | rx_data[11];

            // printf("Buttons: %d, %d | "
            //     "Accel: X=%6d, Y=%6d, Z=%6d | "
            //     "Gyro:  X=%6d, Y=%6d, Z=%6d\n",
            //     button_val_1, button_val_2,
            //     accel_x, accel_y, accel_z,
            //     gyro_x, gyro_y, gyro_z);

//         }

//         k_msleep(100); 

// }
}



void ble_write_thread(void)
{
    /* Wait for BLE to initialize */
    k_sem_take(&ble_init_ok, K_FOREVER);

    while (1) {

		char msg[128];  


		int button_val_1 = gpio_pin_get(gpio0_dev, GPIO_0_BUTTON_1);
        int button_val_2 = gpio_pin_get(gpio0_dev, GPIO_0_BUTTON_2);

        if (imu_data_ready) {
            //k_msleep(1); 
            imu_data_ready = false;
            uint8_t rx_data[12];
            readRegister(ACCEL_XOUT_H, rx_data, 12);
            int16_t accel_x = (rx_data[0] << 8) | rx_data[1];
            int16_t accel_y = (rx_data[2] << 8) | rx_data[3];
            int16_t accel_z = (rx_data[4] << 8) | rx_data[5];
            int16_t gyro_x = (rx_data[6] << 8) | rx_data[7];
            int16_t gyro_y = (rx_data[8] << 8) | rx_data[9];
            int16_t gyro_z = (rx_data[10] << 8) | rx_data[11];
			
			// int len = snprintk(msg, sizeof(msg), "Buttons: %d, %d | "
            //     "Accel: X=%6d, Y=%6d, Z=%6d | "
            //     "Gyro:  X=%6d, Y=%6d, Z=%6d\n",
            //     button_val_1, button_val_2,
            //     accel_x, accel_y, accel_z,
            //     gyro_x, gyro_y, gyro_z);

			uint8_t ble_buf[14]; // 2 buttons + 6 bytes accel + 6 bytes gyro

			ble_buf[0] = button_val_1 ? 1 : 0;
			ble_buf[1] = button_val_2 ? 1 : 0;

			// Accelerometer (big endian)
			ble_buf[2] = (accel_x >> 8) & 0xFF;
			ble_buf[3] = accel_x & 0xFF;
			ble_buf[4] = (accel_y >> 8) & 0xFF;
			ble_buf[5] = accel_y & 0xFF;
			ble_buf[6] = (accel_z >> 8) & 0xFF;
			ble_buf[7] = accel_z & 0xFF;

			// Gyroscope (big endian)
			ble_buf[8]  = (gyro_x >> 8) & 0xFF;
			ble_buf[9]  = gyro_x & 0xFF;
			ble_buf[10] = (gyro_y >> 8) & 0xFF;
			ble_buf[11] = gyro_y & 0xFF;
			ble_buf[12] = (gyro_z >> 8) & 0xFF;
			ble_buf[13] = gyro_z & 0xFF;

			if (current_conn) {
				if (bt_nus_send(current_conn, ble_buf, sizeof(ble_buf))) {
					LOG_WRN("Failed to send raw data over BLE");
				}
			}

            //k_msleep(100); // Delay between messages

        }		

		//k_msleep(10);

    }
}


K_THREAD_DEFINE(ble_write_thread_id, STACKSIZE, ble_write_thread, NULL, NULL,
		NULL, PRIORITY, 0, 0);

		
```
